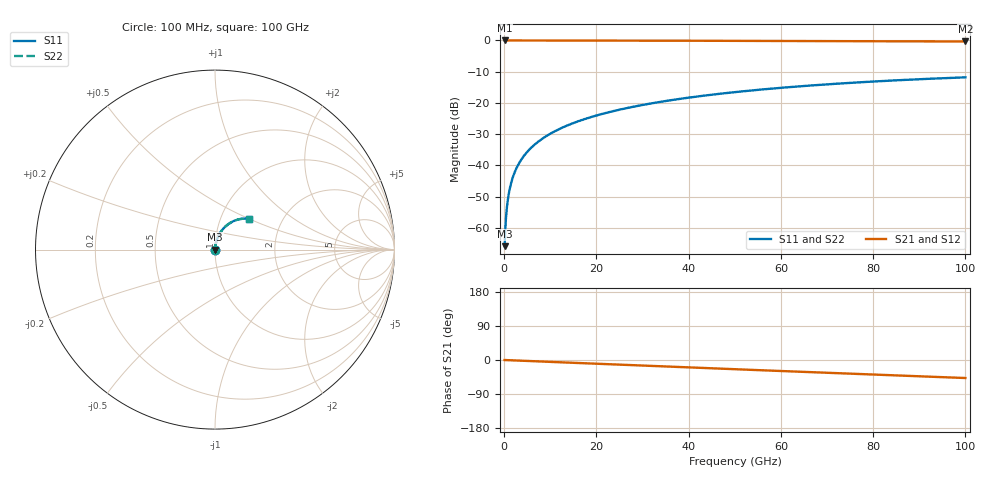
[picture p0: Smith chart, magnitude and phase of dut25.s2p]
! Touchstone file exported from HFSS 2026.1.0
!  File:  C:/ffzhzh/LocalFiles/Ansys_Project_Files/temp_train_TSV_25_1783504499_44152.aedt
!  Generated:  05:56:22 PM Jul  8, 2026
!  Design:  TSV
!  Project:  temp_train_TSV_25_1783504499_44152
! Variables:
!  h_bsmrdl = 2um
!  h_ox = 20um
!  h_rdl = 5um
!  h_sub = 93.01um
!  h_tmrdl = 5um
!  h_tsv = 93.01um
!  h_via = 3um
!  l_bsmrdl = 300um
!  l_sub = 411.46um
!  l_tmrdl = 200um
!  m_sub = 200um
!  pitch = 40.36um
!  r_tsv = 5.73um
!  s_tmrdl = 10um
!  w_bsmrdl = 18um
!  w_sub = 500um
!  w_tmrdl = 12um
!  x_tsv_center1 = 206um
!  x_tsv_center2 = 524um
!  x_tsv_center3 = 736um
!  x_tsv_center4 = 1054um
!  x_tsv_center5 = 1266um
!  x_tsv_center6 = 1584um
# GHz S MA R 50.000000
! Terminal data exported
! Port[1] = TSV1_1_T1
! Port[2] = TSV1_1_T2
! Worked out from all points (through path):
!   1000 points, 100 MHz to 100 GHz, reference 50 ohm
!   highest |S21| = 0.00 dB at 100 MHz (marker M1); lowest = -0.3 dB at 100 GHz (marker M2)
!   group delay of S21, straight-line fit = 1.32 ps
!   lowest |S11| = -65.8 dB at 100 MHz (marker M3), VSWR 1.00, Z = 50 + j0.0365 ohm
!   |S11| at or under -10 dB: start of sweep to end of sweep
!   |S22| runs from -65.8 to -11.8 dB; largest |S21 - S12| = 3.3e-15
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0.1  0.0005106 45.6  0.9996 -0.1  0.9996 -0.1  0.0005106 45.6
! Gamma 0 0 0 0
! Port Impedance 50 0 50 0
0.4  0.001465 74.0  0.9996 -0.2  0.9996 -0.2  0.001465 74.0
0.7  0.002478 79.6  0.9996 -0.4  0.9996 -0.4  0.002478 79.6
0.8  0.002817 80.5  0.9996 -0.4  0.9996 -0.4  0.002817 80.5
1.1  0.003835 82.2  0.9995 -0.6  0.9995 -0.6  0.003835 82.2
1.4  0.004847 83.0  0.9995 -0.7  0.9995 -0.7  0.004847 83.0
1.9  0.006515 83.5  0.9994 -1.0  0.9994 -1.0  0.006515 83.5
2.4  0.008157 83.7  0.9992 -1.2  0.9992 -1.2  0.008157 83.7
3  0.0101 83.8  0.9991 -1.5  0.9991 -1.5  0.0101 83.8
3.8  0.01266 83.8  0.999 -1.9  0.999 -1.9  0.01266 83.8
4.8  0.01583 83.7  0.9988 -2.4  0.9988 -2.4  0.01583 83.7
6  0.01962 83.5  0.9986 -3.0  0.9986 -3.0  0.01962 83.5
8.8  0.02841 82.7  0.9981 -4.4  0.9981 -4.4  0.02841 82.7
12.4  0.03962 81.3  0.9975 -6.1  0.9975 -6.1  0.03962 81.3
16.8  0.05317 79.5  0.9965 -8.3  0.9965 -8.3  0.05317 79.5
24.2  0.0756 76.3  0.9947 -11.9  0.9947 -11.9  0.0756 76.3
33.4  0.1027 72.1  0.9919 -16.3  0.9919 -16.3  0.1027 72.1
41.2  0.1249 68.5  0.989 -20.1  0.989 -20.1  0.1249 68.5
50.1  0.1491 64.4  0.9854 -24.4  0.9854 -24.4  0.1491 64.4
66.7  0.1907 56.7  0.9778 -32.2  0.9778 -32.2  0.1907 56.7
83.4  0.227 49.1  0.9697 -40.0  0.9697 -40.0  0.227 49.0
100  0.2568 41.6  0.962 -47.6  0.962 -47.6  0.2568 41.6
